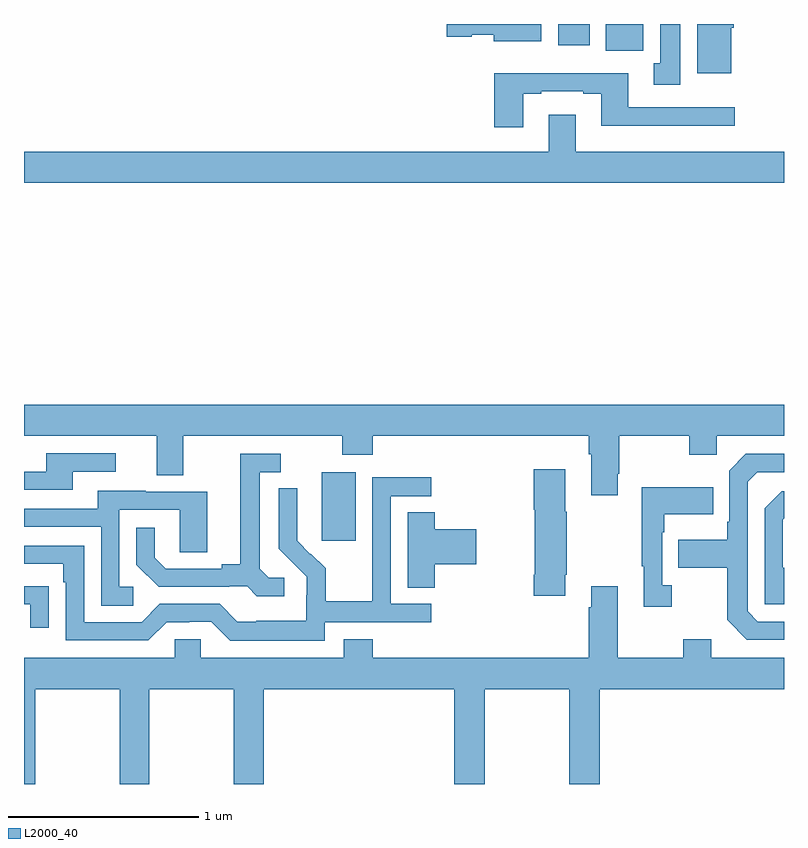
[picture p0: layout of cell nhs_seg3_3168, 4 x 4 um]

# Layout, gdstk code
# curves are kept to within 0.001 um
import gdstk
lib = gdstk.Library(unit=1e-6, precision=1e-09)
def R(c, l, rs):  # rectangles x0, y0, x1, y1
    for r in rs: c.add(gdstk.rectangle(r[:2], r[2:], *l))
def P(c, l, *ps):  # polygons
    for p in ps: c.add(gdstk.Polygon(p, *l))
L2000_40 = (2000, 40)

nhs_seg3_3168 = lib.new_cell('nhs_seg3_3168')
R(nhs_seg3_3168, L2000_40, [(276.566,717.681,276.745,718.042), (278.063,720.26,278.26,720.4), (277.811,720.288,277.978,720.4)])
P(nhs_seg3_3168, L2000_40, [(278.722,720.38),(278.735,720.38),(278.735,720.4),(278.543,720.4),(278.543,720.14),(278.722,720.14)],
  [(277.723,720.4),(277.224,720.4),(277.224,720.332),(277.356,720.332),(277.356,720.344),(277.472,720.344),(277.472,720.308),(277.723,720.308)],
  [(278.455,720.4),(278.348,720.4),(278.348,720.194),(278.315,720.194),(278.315,720.081),(278.455,720.081)],
  [(277.627,720.033),(277.723,720.033),(277.723,720.045),(277.943,720.045),(277.943,720.033),(278.039,720.033),(278.039,719.864),(278.74,719.864),(278.74,719.961),(278.179,719.961),(278.179,720.142),(277.475,720.142),(277.475,719.856),(277.627,719.856)],
  [(279,719.728),(277.903,719.728),(277.903,719.923),(277.763,719.923),(277.763,719.728),(275,719.728),(275,719.564),(279,719.564)],
  [(278.125,718.033),(278.133,718.033),(278.133,718.232),(278.5,718.232),(278.5,718.133),(278.646,718.133),(278.646,718.232),(279,718.232),(279,718.396),(275,718.396),(275,718.232),(275.699,718.232),(275.699,718.024),(275.839,718.024),(275.839,718.232),(276.676,718.232),(276.676,718.133),(276.836,718.133),(276.836,718.232),(277.973,718.232),(277.973,718.136),(277.985,718.136),(277.985,717.921),(278.125,717.921)],
  [(275.257,718.044),(275.482,718.044),(275.482,718.14),(275.117,718.14),(275.117,718.044),(275,718.044),(275,717.948),(275.257,717.948)],
  [(279,717.255),(278.862,717.255),(278.808,717.309),(278.808,717.99),(278.859,718.041),(279,718.041),(279,718.137),(278.799,718.137),(278.712,718.05),(278.712,717.781),(278.7,717.781),(278.7,717.685),(278.443,717.685),(278.443,717.538),(278.7,717.538),(278.7,717.265),(278.805,717.159),(279,717.159)],
  [(276.37,717.486),(276.288,717.486),(276.241,717.533),(276.241,718.041),(276.352,718.041),(276.352,718.137),(276.137,718.137),(276.137,717.557),(276.041,717.557),(276.041,717.534),(275.746,717.534),(275.689,717.591),(275.689,717.748),(275.592,717.748),(275.592,717.554),(275.708,717.438),(276.08,717.438),(276.08,717.441),(276.174,717.441),(276.226,717.389),(276.37,717.389)],
  [(277.849,717.502),(277.857,717.502),(277.857,717.833),(277.849,717.833),(277.849,718.057),(277.682,718.057),(277.682,717.844),(277.687,717.844),(277.687,717.502),(277.682,717.502),(277.682,717.39),(277.849,717.39)],
  [(276.582,717.252),(277.144,717.252),(277.144,717.348),(276.93,717.348),(276.93,717.915),(277.144,717.915),(277.144,718.014),(276.834,718.014),(276.834,717.584),(276.832,717.584),(276.832,717.361),(276.587,717.361),(276.587,717.535),(276.51,717.612),(276.507,717.609),(276.437,717.68),(276.438,717.956),(276.342,717.956),(276.342,717.638),(276.488,717.49),(276.488,717.393),(276.486,717.393),(276.486,717.259),(276.223,717.259),(276.223,717.255),(276.123,717.255),(276.03,717.348),(275.715,717.348),(275.619,717.252),(275.316,717.252),(275.316,717.654),(275,717.654),(275,717.558),(275.207,717.558),(275.207,717.461),(275.22,717.461),(275.22,717.156),(275.655,717.156),(275.751,717.252),(275.87,717.252),(275.87,717.255),(275.985,717.255),(276.085,717.155),(276.582,717.155)],
  [(278.41,717.446),(278.358,717.446),(278.358,717.725),(278.371,717.725),(278.371,717.821),(278.627,717.821),(278.627,717.961),(278.25,717.961),(278.25,717.545),(278.261,717.545),(278.261,717.333),(278.41,717.333)],
  [(275.575,717.438),(275.502,717.438),(275.502,717.843),(275.82,717.843),(275.82,717.619),(275.965,717.619),(275.965,717.939),(275.641,717.939),(275.641,717.943),(275.387,717.943),(275.387,717.849),(275,717.849),(275,717.753),(275.406,717.753),(275.406,717.337),(275.575,717.337)],
  [(279,717.538),(278.994,717.538),(278.994,717.792),(279,717.798),(279,717.942),(278.988,717.942),(278.898,717.852),(278.898,717.345),(279,717.345)],
  [(277.163,717.557),(277.381,717.557),(277.381,717.74),(277.163,717.74),(277.163,717.83),(277.019,717.83),(277.019,717.433),(277.163,717.433)],
  [(276.103,716.4),(276.263,716.4),(276.263,716.9),(277.265,716.9),(277.265,716.4),(277.425,716.4),(277.425,716.9),(277.87,716.9),(277.87,716.4),(278.03,716.4),(278.03,716.9),(279,716.9),(279,717.064),(278.617,717.064),(278.617,717.163),(278.47,717.163),(278.47,717.064),(278.125,717.064),(278.125,717.442),(277.985,717.442),(277.985,717.329),(277.973,717.329),(277.973,717.064),(276.836,717.064),(276.836,717.163),(276.683,717.163),(276.683,717.064),(275.931,717.064),(275.931,717.162),(275.793,717.162),(275.793,717.064),(275,717.064),(275,716.4),(275.058,716.4),(275.058,716.9),(275.503,716.9),(275.503,716.4),(275.658,716.4),(275.658,716.9),(276.103,716.9)],
  [(275.129,717.44),(275.027,717.44),(275.027,717.441),(275,717.441),(275,717.345),(275.033,717.345),(275.033,717.222),(275.129,717.222)])

lib.write_gds('nhs_seg3_3168.gds')
